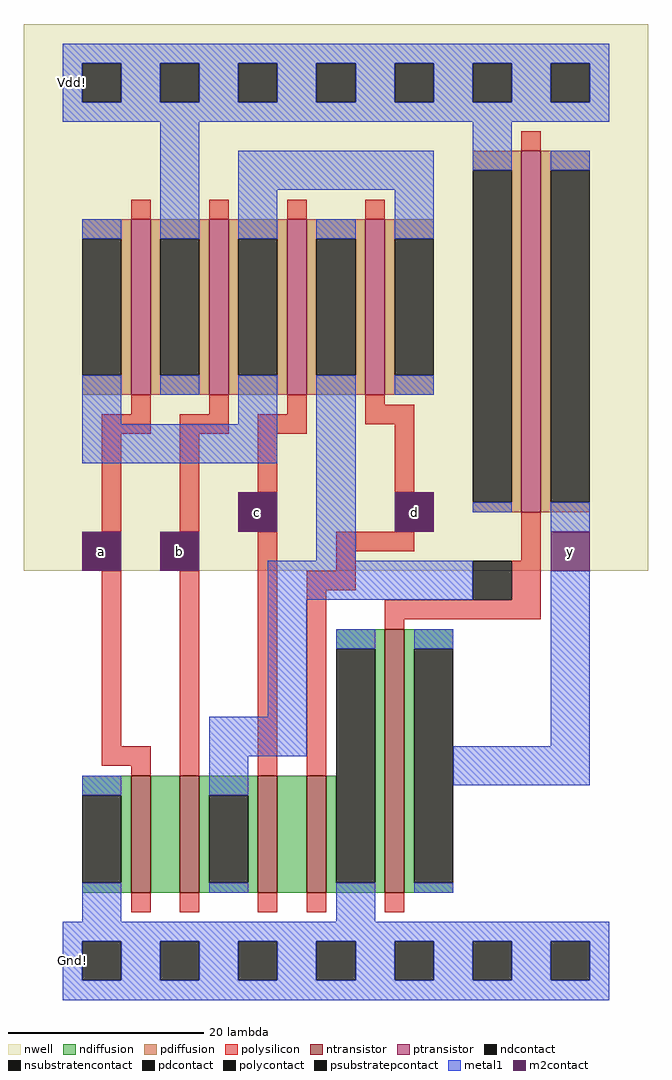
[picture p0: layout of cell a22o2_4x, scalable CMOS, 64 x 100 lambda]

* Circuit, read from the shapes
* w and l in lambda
.subckt a22o2_4x Gnd! Vdd! a b c d y
M1 n1 a Gnd! Gnd! nfet w=12 l=2
M2 n2 b n1 Gnd! nfet w=12 l=2
M3 n3 c n2 Gnd! nfet w=12 l=2
M4 Gnd! d n3 Gnd! nfet w=12 l=2
M5 y n2 Gnd! Gnd! nfet w=27 l=2
M6 Vdd! a n4 Vdd! pfet w=18 l=2
M7 n4 b Vdd! Vdd! pfet w=18 l=2
M8 n2 c n4 Vdd! pfet w=18 l=2
M9 n4 d n2 Vdd! pfet w=18 l=2
M10 y n2 Vdd! Vdd! pfet w=37 l=2
.ends

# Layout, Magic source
magic
tech scmos
<< nwell >>
rect -6 40 58 96
<< ntransistor >>
rect 5 7 7 19
rect 10 7 12 19
rect 18 7 20 19
rect 23 7 25 19
rect 31 7 33 34
<< ptransistor >>
rect 5 58 7 76
rect 13 58 15 76
rect 21 58 23 76
rect 29 58 31 76
rect 45 46 47 83
<< ndiffusion >>
rect 26 32 31 34
rect 0 17 5 19
rect 4 8 5 17
rect 0 7 5 8
rect 7 7 10 19
rect 12 17 18 19
rect 12 8 13 17
rect 17 8 18 17
rect 12 7 18 8
rect 20 7 23 19
rect 25 8 26 19
rect 30 8 31 32
rect 25 7 31 8
rect 33 32 38 34
rect 33 8 34 32
rect 33 7 38 8
<< pdiffusion >>
rect 40 81 45 83
rect 0 74 5 76
rect 4 60 5 74
rect 0 58 5 60
rect 7 74 13 76
rect 7 60 8 74
rect 12 60 13 74
rect 7 58 13 60
rect 15 74 21 76
rect 15 60 16 74
rect 20 60 21 74
rect 15 58 21 60
rect 23 74 29 76
rect 23 60 24 74
rect 28 60 29 74
rect 23 58 29 60
rect 31 74 36 76
rect 31 60 32 74
rect 31 58 36 60
rect 44 47 45 81
rect 40 46 45 47
rect 47 81 52 83
rect 47 47 48 81
rect 47 46 52 47
<< ndcontact >>
rect 0 8 4 17
rect 13 8 17 17
rect 26 8 30 32
rect 34 8 38 32
<< pdcontact >>
rect 0 60 4 74
rect 8 60 12 74
rect 16 60 20 74
rect 24 60 28 74
rect 32 60 36 74
rect 40 47 44 81
rect 48 47 52 81
<< psubstratepcontact >>
rect 0 -2 4 2
rect 8 -2 12 2
rect 16 -2 20 2
rect 24 -2 28 2
rect 32 -2 36 2
rect 40 -2 44 2
rect 48 -2 52 2
<< nsubstratencontact >>
rect 0 88 4 92
rect 8 88 12 92
rect 16 88 20 92
rect 24 88 28 92
rect 32 88 36 92
rect 40 88 44 92
rect 48 88 52 92
<< polysilicon >>
rect 45 83 47 85
rect 5 76 7 78
rect 13 76 15 78
rect 21 76 23 78
rect 29 76 31 78
rect 5 56 7 58
rect 13 56 15 58
rect 21 56 23 58
rect 2 54 7 56
rect 10 54 15 56
rect 18 54 23 56
rect 29 57 31 58
rect 29 55 34 57
rect 2 44 4 54
rect 10 44 12 54
rect 18 48 20 54
rect 32 48 34 55
rect 2 22 4 40
rect 2 20 7 22
rect 5 19 7 20
rect 10 19 12 40
rect 18 19 20 44
rect 26 42 34 44
rect 26 40 28 42
rect 45 41 47 46
rect 23 38 28 40
rect 23 19 25 38
rect 44 37 47 41
rect 31 35 47 37
rect 31 34 33 35
rect 5 5 7 7
rect 10 5 12 7
rect 18 5 20 7
rect 23 5 25 7
rect 31 5 33 7
<< polycontact >>
rect 16 44 20 48
rect 32 44 36 48
rect 0 40 4 44
rect 8 40 12 44
rect 40 37 44 41
<< metal1 >>
rect -2 92 54 94
rect -2 88 0 92
rect 4 88 8 92
rect 12 88 16 92
rect 20 88 24 92
rect 28 88 32 92
rect 36 88 40 92
rect 44 88 48 92
rect 52 88 54 92
rect -2 86 54 88
rect 0 74 4 76
rect 0 55 4 60
rect 8 74 12 86
rect 8 58 12 60
rect 16 79 36 83
rect 16 74 20 79
rect 16 55 20 60
rect 0 51 20 55
rect 24 74 28 76
rect 24 41 28 60
rect 32 74 36 79
rect 32 58 36 60
rect 40 81 44 86
rect 40 46 44 47
rect 48 81 52 83
rect 48 44 52 47
rect 19 37 40 41
rect 19 25 23 37
rect 13 21 23 25
rect 26 32 30 34
rect 0 17 4 19
rect 0 4 4 8
rect 13 17 17 21
rect 13 7 17 8
rect 26 4 30 8
rect 34 32 38 34
rect 48 22 52 40
rect 38 18 52 22
rect 34 7 38 8
rect -2 2 54 4
rect -2 -2 0 2
rect 4 -2 8 2
rect 12 -2 16 2
rect 20 -2 24 2
rect 28 -2 32 2
rect 36 -2 40 2
rect 44 -2 48 2
rect 52 -2 54 2
rect -2 -4 54 -2
<< m2contact >>
rect 16 44 20 48
rect 0 40 4 44
rect 8 40 12 44
rect 32 44 36 48
rect 48 40 52 44
<< labels >>
rlabel m2contact 2 42 2 42 1 a
rlabel m2contact 10 42 10 42 1 b
rlabel m2contact 18 46 18 46 1 c
rlabel m2contact 34 46 34 46 1 d
rlabel m2contact 50 42 50 42 1 y
rlabel metal1 -1 90 -1 90 3 Vdd!
rlabel metal1 -1 0 -1 0 2 Gnd!
<< end >>
